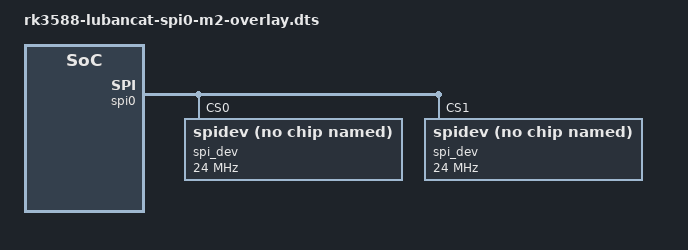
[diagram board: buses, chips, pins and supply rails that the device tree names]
/dts-v1/;
/plugin/;

#include <dt-bindings/gpio/gpio.h>
#include <dt-bindings/pinctrl/rockchip.h>

/ {
	fragment@0 {
		target = <&spi0>;

		__overlay__ {
			status = "okay";
			#address-cells = <1>;
			#size-cells = <0>;
			pinctrl-names = "default";
			pinctrl-0 = <&spi0m2_cs0 &spi0m2_cs1 &spi0m2_pins>;
			num-cs = <2>;

			spi_dev@0 {
				compatible = "rockchip,spidev";
				reg = <0>; //chip select 0:cs0  1:cs1
				spi-max-frequency = <24000000>; //spi output clock
			};

			spi_dev@1 {
				compatible = "rockchip,spidev";
				reg = <1>;
				spi-max-frequency = <24000000>;
			};
		};
	};
};
